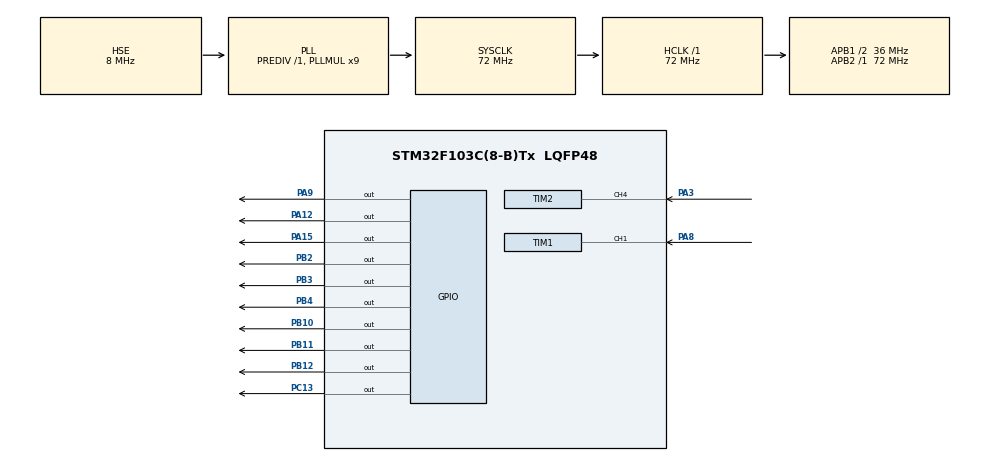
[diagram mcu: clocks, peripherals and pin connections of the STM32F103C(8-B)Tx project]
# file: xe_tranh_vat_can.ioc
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Mcu.Family=STM32F1
Mcu.Name=STM32F103C(8-B)Tx
Mcu.Package=LQFP48
NVIC.PriorityGroup=NVIC_PRIORITYGROUP_4
NVIC.TIM1_CC_IRQn=true\:0\:0\:false\:false\:true\:true\:true\:true
NVIC.TIM2_IRQn=true\:0\:0\:false\:false\:true\:true\:true\:true
PA12.Signal=GPIO_Output
PA13.Mode=Serial_Wire
PA13.Signal=SYS_JTMS-SWDIO
PA14.Mode=Serial_Wire
PA14.Signal=SYS_JTCK-SWCLK
PA15.Signal=GPIO_Output
PA3.Signal=S_TIM2_CH4
PA8.Signal=S_TIM1_CH1
PA9.Signal=GPIO_Output
PB10.Signal=GPIO_Output
PB11.Signal=GPIO_Output
PB12.Signal=GPIO_Output
PB2.Signal=GPIO_Output
PB3.Signal=GPIO_Output
PB4.Signal=GPIO_Output
PC13-TAMPER-RTC.Signal=GPIO_Output
PD0-OSC_IN.Mode=HSE-External-Oscillator
PD0-OSC_IN.Signal=RCC_OSC_IN
PD1-OSC_OUT.Mode=HSE-External-Oscillator
PD1-OSC_OUT.Signal=RCC_OSC_OUT
ProjectManager.HeapSize=0x200
ProjectManager.StackSize=0x400
ProjectManager.TargetToolchain=STM32CubeIDE
RCC.AHBFreq_Value=72000000
RCC.APB1CLKDivider=RCC_HCLK_DIV2
RCC.APB1Freq_Value=36000000
RCC.APB1TimFreq_Value=72000000
RCC.APB2Freq_Value=72000000
RCC.APB2TimFreq_Value=72000000
RCC.HCLKFreq_Value=72000000
RCC.PLLMUL=RCC_PLL_MUL9
RCC.PLLSourceVirtual=RCC_PLLSOURCE_HSE
RCC.SYSCLKFreq_VALUE=72000000
RCC.SYSCLKSource=RCC_SYSCLKSOURCE_PLLCLK
RCC.USBFreq_Value=72000000
SH.S_TIM1_CH1.0=TIM1_CH1,Input_Capture1_from_TI1
SH.S_TIM2_CH4.0=TIM2_CH4,Input_Capture4_from_TI4
TIM1.Channel-Input_Capture1_from_TI1=TIM_CHANNEL_1
TIM1.Prescaler=72-1
TIM2.Channel-Input_Capture4_from_TI4=TIM_CHANNEL_4
TIM2.Prescaler=71
VP_TIM1_VS_ClockSourceINT.Mode=Internal
board=custom

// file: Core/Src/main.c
/* USER CODE BEGIN Header */
/**
  ******************************************************************************
  * @file           : main.c
  * @brief          : Main program body
  ******************************************************************************
  * @attention
  *
  * Copyright (c) 2024 STMicroelectronics.
  * All rights reserved.
  *
  * This software is licensed under terms that can be found in the LICENSE file
  * in the root directory of this software component.
  * If no LICENSE file comes with this software, it is provided AS-IS.
  *
  ******************************************************************************
  */
/* USER CODE END Header */
#include "main.h"

TIM_HandleTypeDef htim1;
TIM_HandleTypeDef htim2;

/* USER CODE BEGIN PV */
uint32_t IC_Val1 = 0;
uint32_t IC_Val2 = 0;
uint32_t Difference = 0;
uint8_t Is_First_Captured = 0;  // is the first value captured ?
uint8_t Distance  = 0;

uint32_t IC_Val12 = 0;
uint32_t IC_Val22 = 0;
uint32_t Difference2 = 0;
uint8_t Is_First_Captured2 = 0;  // is the first value captured ?
uint8_t Distance2  = 0;

#define TRIG_PIN GPIO_PIN_9
#define TRIG_PORT GPIOA
#define TRIG_PIN3 GPIO_PIN_11
#define TRIG_PORT3 GPIOB
void delay(uint16_t time)
{
	__HAL_TIM_SET_COUNTER(&htim1, 0);
	while(__HAL_TIM_GET_COUNTER(&htim1)<time);
}
void HAL_TIM_IC_CaptureCallback(TIM_HandleTypeDef *htim)
{
	if (htim->Instance == TIM1) // Kiểm tra ngắt đến từ TIM1
	{
		if (htim->Channel == HAL_TIM_ACTIVE_CHANNEL_1)  // if the interrupt source is channel1
			{
				if (Is_First_Captured==0) // if the first value is not captured
				{
					IC_Val1 = HAL_TIM_ReadCapturedValue(htim, TIM_CHANNEL_1); // read the first value
					Is_First_Captured = 1;  // set the first captured as true
					// Now change the polarity to falling edge
					__HAL_TIM_SET_CAPTUREPOLARITY(htim, TIM_CHANNEL_1, TIM_INPUTCHANNELPOLARITY_FALLING);
				}

				else if (Is_First_Captured==1)   // if the first is already captured
				{
					IC_Val2 = HAL_TIM_ReadCapturedValue(htim, TIM_CHANNEL_1);  // read second value
					__HAL_TIM_SET_COUNTER(htim, 0);  // reset the counter

					if (IC_Val2 > IC_Val1)
					{
						Difference = IC_Val2-IC_Val1;
					}

					else if (IC_Val1 > IC_Val2)
					{
						Difference = (0xffff - IC_Val1) + IC_Val2;
					}

					Distance = Difference * 0.034/2;
					Is_First_Captured = 0; // set it back to false

					// set polarity to rising edge
					__HAL_TIM_SET_CAPTUREPOLARITY(htim, TIM_CHANNEL_1, TIM_INPUTCHANNELPOLARITY_RISING);
					__HAL_TIM_DISABLE_IT(&htim1, TIM_IT_CC1);
				}
			}
	}
	else if (htim->Instance == TIM2) // Kiểm tra ngắt đến từ TIM2
	{
		if (htim->Channel == HAL_TIM_ACTIVE_CHANNEL_4)  // if the interrupt source is channel1
				{
					if (Is_First_Captured2==0) // if the first value is not captured
					{
						IC_Val12 = HAL_TIM_ReadCapturedValue(htim, TIM_CHANNEL_4); // read the first value
						Is_First_Captured2 = 1;  // set the first captured as true
						// Now change the polarity to falling edge
						__HAL_TIM_SET_CAPTUREPOLARITY(htim, TIM_CHANNEL_4, TIM_INPUTCHANNELPOLARITY_FALLING);
					}

					else if (Is_First_Captured2==1)   // if the first is already captured
					{
						IC_Val22 = HAL_TIM_ReadCapturedValue(htim, TIM_CHANNEL_4);  // read second value
						__HAL_TIM_SET_COUNTER(htim, 0);  // reset the counter

						if (IC_Val22 > IC_Val12)
						{
							Difference2 = IC_Val22-IC_Val12;
						}

						else if (IC_Val12 > IC_Val22)
						{
							Difference2 = (0xffff - IC_Val12) + IC_Val22;
						}

						Distance2 = Difference2 * 0.034/2;
						Is_First_Captured2 = 0; // set it back to false

						// set polarity to rising edge
						__HAL_TIM_SET_CAPTUREPOLARITY(htim, TIM_CHANNEL_4, TIM_INPUTCHANNELPOLARITY_RISING);
						__HAL_TIM_DISABLE_IT(&htim1, TIM_IT_CC4);
					}
				}
	}

}
void HCSR04_Read (void)
{
	HAL_GPIO_WritePin(TRIG_PORT, TRIG_PIN, GPIO_PIN_RESET);
	delay(2);
	HAL_GPIO_WritePin(TRIG_PORT, TRIG_PIN, GPIO_PIN_SET);  // pull the TRIG pin HIGH
	delay(10);  // wait for 10 us
	HAL_GPIO_WritePin(TRIG_PORT, TRIG_PIN, GPIO_PIN_RESET);  // pull the TRIG pin low
	__HAL_TIM_ENABLE_IT(&htim1, TIM_IT_CC1);
}
void HCSR04_Read3 (void)
{
	HAL_GPIO_WritePin(TRIG_PORT3, TRIG_PIN3, GPIO_PIN_RESET);
	delay(2);
	HAL_GPIO_WritePin(TRIG_PORT3, TRIG_PIN3, GPIO_PIN_SET);  // pull the TRIG pin HIGH
	delay(10);  // wait for 10 us
	HAL_GPIO_WritePin(TRIG_PORT3, TRIG_PIN3, GPIO_PIN_RESET);  // pull the TRIG pin low
	__HAL_TIM_ENABLE_IT(&htim1, TIM_IT_CC4);
}
/* USER CODE END PV */

void SystemClock_Config(void);
static void MX_GPIO_Init(void);
static void MX_TIM1_Init(void);
static void MX_TIM2_Init(void);

int main(void)
{

  /* MCU Configuration--------------------------------------------------------*/

  /* Reset of all peripherals, Initializes the Flash interface and the Systick. */
  HAL_Init();

  /* Configure the system clock */
  SystemClock_Config();

  /* Initialize all configured peripherals */
  MX_GPIO_Init();
  MX_TIM1_Init();
  MX_TIM2_Init();
  /* USER CODE BEGIN 2 */
  HAL_TIM_IC_Start_IT(&htim1, TIM_CHANNEL_1);
  HAL_TIM_IC_Start_IT(&htim2, TIM_CHANNEL_4);
  /* USER CODE END 2 */

  /* Infinite loop */
  /* USER CODE BEGIN WHILE */
  while (1)
  {

	  HCSR04_Read();
	  HCSR04_Read3();
	  HAL_Delay(50);
	  if(Distance>10 && Distance2>5)
	{
		  HAL_GPIO_WritePin(GPIOA, GPIO_PIN_12, 1);
		  HAL_GPIO_WritePin(GPIOA, GPIO_PIN_15, 0);
		  HAL_GPIO_WritePin(GPIOB, GPIO_PIN_3, 1);
		  HAL_GPIO_WritePin(GPIOB, GPIO_PIN_4, 0);

	}
	  else if (Distance<10 || Distance2<5)
	  {
		  HAL_GPIO_WritePin(GPIOA, GPIO_PIN_12, 0);
		  HAL_GPIO_WritePin(GPIOA, GPIO_PIN_15, 0);
		  HAL_GPIO_WritePin(GPIOB, GPIO_PIN_3, 0);
		  HAL_GPIO_WritePin(GPIOB, GPIO_PIN_4, 0);
		  delay(1000);
		  if (Distance<10 || Distance2<5)
		  {
			  HAL_GPIO_WritePin(GPIOA, GPIO_PIN_12, 0);
			  HAL_GPIO_WritePin(GPIOA, GPIO_PIN_15, 1);
			  HAL_GPIO_WritePin(GPIOB, GPIO_PIN_3, 0);
			  HAL_GPIO_WritePin(GPIOB, GPIO_PIN_4, 1);
			  HAL_Delay(200);

			  HAL_GPIO_WritePin(GPIOA, GPIO_PIN_12, 0);
			  HAL_GPIO_WritePin(GPIOA, GPIO_PIN_15, 1);
			  HAL_GPIO_WritePin(GPIOB, GPIO_PIN_3, 1);
			  HAL_GPIO_WritePin(GPIOB, GPIO_PIN_4, 0);
			  HAL_Delay(50);

//		  HCSR04_Read3();

	  }

	  }

    /* USER CODE END WHILE */

  }
}

void SystemClock_Config(void)
{
  RCC_OscInitTypeDef RCC_OscInitStruct = {0};
  RCC_ClkInitTypeDef RCC_ClkInitStruct = {0};

  /** Initializes the RCC Oscillators according to the specified parameters
  * in the RCC_OscInitTypeDef structure.
  */
  RCC_OscInitStruct.OscillatorType = RCC_OSCILLATORTYPE_HSE;
  RCC_OscInitStruct.HSEState = RCC_HSE_ON;
  RCC_OscInitStruct.HSEPredivValue = RCC_HSE_PREDIV_DIV1;
  RCC_OscInitStruct.HSIState = RCC_HSI_ON;
  RCC_OscInitStruct.PLL.PLLState = RCC_PLL_ON;
  RCC_OscInitStruct.PLL.PLLSource = RCC_PLLSOURCE_HSE;
  RCC_OscInitStruct.PLL.PLLMUL = RCC_PLL_MUL9;
  if (HAL_RCC_OscConfig(&RCC_OscInitStruct) != HAL_OK)
  {
    Error_Handler();
  }

  /** Initializes the CPU, AHB and APB buses clocks
  */
  RCC_ClkInitStruct.ClockType = RCC_CLOCKTYPE_HCLK|RCC_CLOCKTYPE_SYSCLK
                              |RCC_CLOCKTYPE_PCLK1|RCC_CLOCKTYPE_PCLK2;
  RCC_ClkInitStruct.SYSCLKSource = RCC_SYSCLKSOURCE_PLLCLK;
  RCC_ClkInitStruct.AHBCLKDivider = RCC_SYSCLK_DIV1;
  RCC_ClkInitStruct.APB1CLKDivider = RCC_HCLK_DIV2;
  RCC_ClkInitStruct.APB2CLKDivider = RCC_HCLK_DIV1;

  if (HAL_RCC_ClockConfig(&RCC_ClkInitStruct, FLASH_LATENCY_2) != HAL_OK)
  {
    Error_Handler();
  }
}

static void MX_TIM1_Init(void)
{

  TIM_ClockConfigTypeDef sClockSourceConfig = {0};
  TIM_MasterConfigTypeDef sMasterConfig = {0};
  TIM_IC_InitTypeDef sConfigIC = {0};

  htim1.Instance = TIM1;
  htim1.Init.Prescaler = 72-1;
  htim1.Init.CounterMode = TIM_COUNTERMODE_UP;
  htim1.Init.Period = 65535;
  htim1.Init.ClockDivision = TIM_CLOCKDIVISION_DIV1;
  htim1.Init.RepetitionCounter = 0;
  htim1.Init.AutoReloadPreload = TIM_AUTORELOAD_PRELOAD_DISABLE;
  if (HAL_TIM_Base_Init(&htim1) != HAL_OK)
  {
    Error_Handler();
  }
  sClockSourceConfig.ClockSource = TIM_CLOCKSOURCE_INTERNAL;
  if (HAL_TIM_ConfigClockSource(&htim1, &sClockSourceConfig) != HAL_OK)
  {
    Error_Handler();
  }
  if (HAL_TIM_IC_Init(&htim1) != HAL_OK)
  {
    Error_Handler();
  }
  sMasterConfig.MasterOutputTrigger = TIM_TRGO_RESET;
  sMasterConfig.MasterSlaveMode = TIM_MASTERSLAVEMODE_DISABLE;
  if (HAL_TIMEx_MasterConfigSynchronization(&htim1, &sMasterConfig) != HAL_OK)
  {
    Error_Handler();
  }
  sConfigIC.ICPolarity = TIM_INPUTCHANNELPOLARITY_RISING;
  sConfigIC.ICSelection = TIM_ICSELECTION_DIRECTTI;
  sConfigIC.ICPrescaler = TIM_ICPSC_DIV1;
  sConfigIC.ICFilter = 0;
  if (HAL_TIM_IC_ConfigChannel(&htim1, &sConfigIC, TIM_CHANNEL_1) != HAL_OK)
  {
    Error_Handler();
  }

}

static void MX_TIM2_Init(void)
{

  TIM_MasterConfigTypeDef sMasterConfig = {0};
  TIM_IC_InitTypeDef sConfigIC = {0};

  htim2.Instance = TIM2;
  htim2.Init.Prescaler = 71;
  htim2.Init.CounterMode = TIM_COUNTERMODE_UP;
  htim2.Init.Period = 65535;
  htim2.Init.ClockDivision = TIM_CLOCKDIVISION_DIV1;
  htim2.Init.AutoReloadPreload = TIM_AUTORELOAD_PRELOAD_DISABLE;
  if (HAL_TIM_IC_Init(&htim2) != HAL_OK)
  {
    Error_Handler();
  }
  sMasterConfig.MasterOutputTrigger = TIM_TRGO_RESET;
  sMasterConfig.MasterSlaveMode = TIM_MASTERSLAVEMODE_DISABLE;
  if (HAL_TIMEx_MasterConfigSynchronization(&htim2, &sMasterConfig) != HAL_OK)
  {
    Error_Handler();
  }
  sConfigIC.ICPolarity = TIM_INPUTCHANNELPOLARITY_RISING;
  sConfigIC.ICSelection = TIM_ICSELECTION_DIRECTTI;
  sConfigIC.ICPrescaler = TIM_ICPSC_DIV1;
  sConfigIC.ICFilter = 0;
  if (HAL_TIM_IC_ConfigChannel(&htim2, &sConfigIC, TIM_CHANNEL_4) != HAL_OK)
  {
    Error_Handler();
  }

}

static void MX_GPIO_Init(void)
{
  GPIO_InitTypeDef GPIO_InitStruct = {0};

  /* GPIO Ports Clock Enable */
  __HAL_RCC_GPIOC_CLK_ENABLE();
  __HAL_RCC_GPIOD_CLK_ENABLE();
  __HAL_RCC_GPIOA_CLK_ENABLE();
  __HAL_RCC_GPIOB_CLK_ENABLE();

  /*Configure GPIO pin Output Level */
  HAL_GPIO_WritePin(GPIOC, GPIO_PIN_13, GPIO_PIN_RESET);

  /*Configure GPIO pin Output Level */
  HAL_GPIO_WritePin(GPIOB, GPIO_PIN_2|GPIO_PIN_10|GPIO_PIN_11|GPIO_PIN_12
                          |GPIO_PIN_3|GPIO_PIN_4, GPIO_PIN_RESET);

  /*Configure GPIO pin Output Level */
  HAL_GPIO_WritePin(GPIOA, GPIO_PIN_9|GPIO_PIN_12|GPIO_PIN_15, GPIO_PIN_RESET);

  /*Configure GPIO pin : PC13 */
  GPIO_InitStruct.Pin = GPIO_PIN_13;
  GPIO_InitStruct.Mode = GPIO_MODE_OUTPUT_PP;
  GPIO_InitStruct.Pull = GPIO_NOPULL;
  GPIO_InitStruct.Speed = GPIO_SPEED_FREQ_LOW;
  HAL_GPIO_Init(GPIOC, &GPIO_InitStruct);

  /*Configure GPIO pins : PB2 PB10 PB11 PB12
                           PB3 PB4 */
  GPIO_InitStruct.Pin = GPIO_PIN_2|GPIO_PIN_10|GPIO_PIN_11|GPIO_PIN_12
                          |GPIO_PIN_3|GPIO_PIN_4;
  GPIO_InitStruct.Mode = GPIO_MODE_OUTPUT_PP;
  GPIO_InitStruct.Pull = GPIO_NOPULL;
  GPIO_InitStruct.Speed = GPIO_SPEED_FREQ_LOW;
  HAL_GPIO_Init(GPIOB, &GPIO_InitStruct);

  /*Configure GPIO pins : PA9 PA12 PA15 */
  GPIO_InitStruct.Pin = GPIO_PIN_9|GPIO_PIN_12|GPIO_PIN_15;
  GPIO_InitStruct.Mode = GPIO_MODE_OUTPUT_PP;
  GPIO_InitStruct.Pull = GPIO_NOPULL;
  GPIO_InitStruct.Speed = GPIO_SPEED_FREQ_LOW;
  HAL_GPIO_Init(GPIOA, &GPIO_InitStruct);

}

void Error_Handler(void)
{
  __disable_irq();
  while (1)
  {
  }
}
